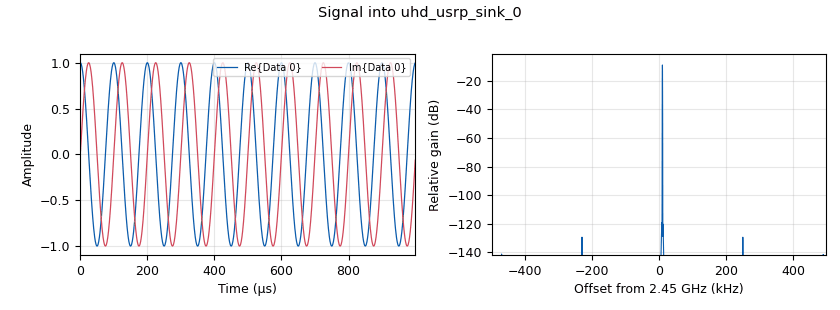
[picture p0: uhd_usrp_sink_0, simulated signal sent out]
options:
  parameters:
    generate_options: no_gui
    id: run_DoA_transmitter
    output_language: python
  states: {}

blocks:
- name: input_variables
  id: epy_module
  parameters:
    comment: |-
      input_variables: 
      Contains all the user-defined variables.
    source_code: |
      # Comment here
      ToneFreq = 10000
      SampleRate = 1000000
      CenterFreq = 2450000000
      TxAddr = "addr=192.168.40.2"
      Gain = 20
  states: {}
- name: analog_sig_source_x_0
  id: analog_sig_source_x
  parameters:
    amp: '1'
    freq: input_variables.ToneFreq
    offset: '0'
    phase: '0'
    samp_rate: input_variables.SampleRate
    type: complex
    waveform: analog.GR_COS_WAVE
  states: {}
- name: uhd_usrp_sink_0
  id: uhd_usrp_sink
  parameters:
    ant0: ''
    center_freq0: input_variables.CenterFreq
    clock_rate: '0.0'
    clock_source0: internal
    dev_addr: input_variables.TxAddr
    dev_args: '""'
    gain0: input_variables.Gain
    len_tag_name: ''
    norm_gain0: 'False'
    samp_rate: input_variables.SampleRate
    sync: sync
    type: fc32
  states: {}

connections:
- [analog_sig_source_x_0, '0', uhd_usrp_sink_0, '0']

metadata:
  file_format: 1
